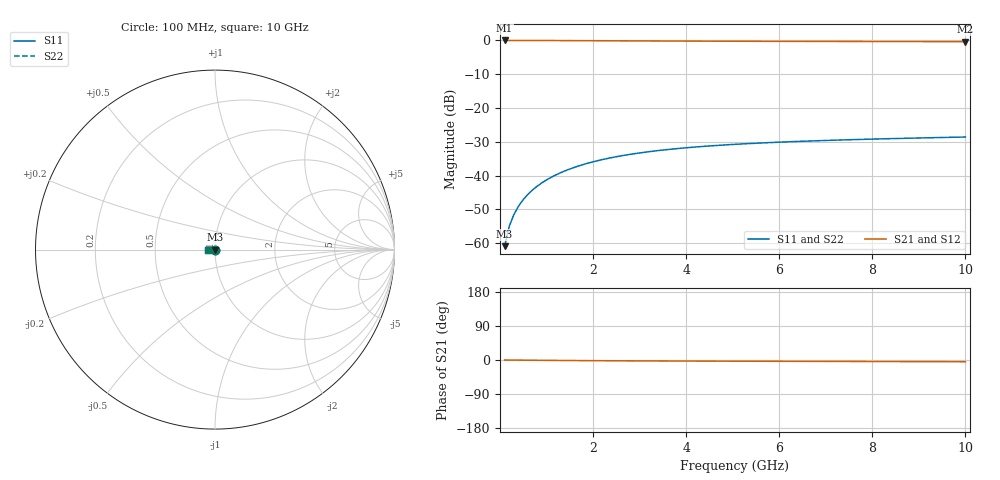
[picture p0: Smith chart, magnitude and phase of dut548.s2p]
! Touchstone file exported from HFSS 2024.1.0
!  File:  C:/UserFiles/LocalFiles/RDL_TSV_Batchsim/temp_TSV1_548_1779706090.aedt
!  Generated:  06:53:21 PM May 25, 2026
!  Design:  TSV1
!  Project:  temp_TSV1_548_1779706090
!  Setup:  Setup1
!  Solution:  Sweep
! Variables:
!  dtsv = 7.79um
!  hbump = 3um
!  htsv = 71.25um
!  lrdl = 252.1521522um
!  p = 40
!  p1 = 40.96um
!  t = 500um
!  trdl = 3um
!  wrdl = 24.89489489um
# GHz S MA R 50.000000
! Terminal data exported
! Port[1] = TSV22_T1
! Port[2] = TSV22_T2
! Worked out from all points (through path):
!   100 points, 100 MHz to 10 GHz, reference 50 ohm
!   highest |S21| = 0.00 dB at 100 MHz (marker M1); lowest = -0.3 dB at 10 GHz (marker M2)
!   lowest |S11| = -60.9 dB at 100 MHz (marker M3), VSWR 1.00, Z = 50 - j0.0879 ohm
!   |S11| at or under -10 dB: start of sweep to end of sweep
!   |S22| runs from -60.9 to -28.6 dB; largest |S21 - S12| = 3.1e-15
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0.1  0.0009008 -77.2  0.9997 -0.1  0.9997 -0.1  0.0009008 -77.2
! Gamma 0 0 0 0
! Port Impedance 50 0 50 0
0.2  0.001776 -85.8  0.9997 -0.2  0.9997 -0.2  0.001776 -85.8
0.3  0.002655 -89.8  0.9995 -0.3  0.9995 -0.3  0.002655 -89.8
0.4  0.003531 -92.7  0.9993 -0.4  0.9993 -0.4  0.003531 -92.7
0.5  0.004401 -95.1  0.9991 -0.5  0.9991 -0.5  0.004401 -95.1
0.6  0.005264 -97.2  0.9988 -0.6  0.9988 -0.6  0.005264 -97.2
0.7  0.006118 -99.1  0.9985 -0.7  0.9985 -0.7  0.006118 -99.1
0.8  0.006961 -101.0  0.9981 -0.8  0.9981 -0.8  0.006961 -101.0
0.9  0.007794 -102.7  0.9977 -0.9  0.9977 -0.9  0.007794 -102.7
1.1  0.009421 -106.1  0.9968 -1.0  0.9968 -1.0  0.009421 -106.1
1.4  0.01175 -111.0  0.9952 -1.3  0.9952 -1.3  0.01175 -111.0
1.6  0.01323 -114.0  0.994 -1.4  0.994 -1.4  0.01323 -114.0
1.8  0.01463 -116.9  0.9928 -1.6  0.9928 -1.6  0.01463 -116.9
2.1  0.01661 -121.1  0.9908 -1.8  0.9908 -1.8  0.01661 -121.1
2.5  0.019 -126.4  0.9881 -2.0  0.9881 -2.0  0.019 -126.4
2.9  0.02112 -131.2  0.9854 -2.3  0.9854 -2.3  0.02112 -131.2
3.4  0.02343 -136.7  0.9822 -2.5  0.9822 -2.5  0.02343 -136.7
4.2  0.02646 -144.6  0.9776 -2.8  0.9776 -2.8  0.02646 -144.6
5.1  0.02911 -152.1  0.9733 -3.1  0.9733 -3.1  0.02911 -152.1
6.7  0.03255 -163.1  0.9676 -3.6  0.9676 -3.6  0.03255 -163.1
8.4  0.03519 -172.5  0.9634 -4.1  0.9634 -4.1  0.03519 -172.5
10  0.03719 -180.0  0.9607 -4.6  0.9607 -4.6  0.03719 -180.0
